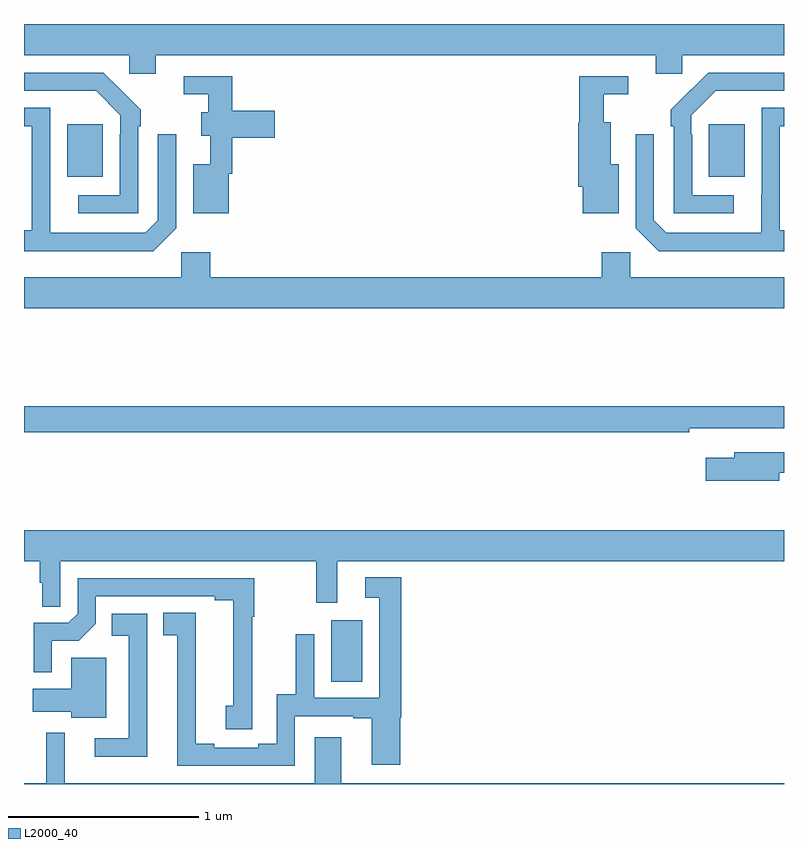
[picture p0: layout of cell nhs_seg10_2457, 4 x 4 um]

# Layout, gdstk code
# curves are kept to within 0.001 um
import gdstk
lib = gdstk.Library(unit=1e-6, precision=1e-09)
def R(c, l, rs):  # rectangles x0, y0, x1, y1
    for r in rs: c.add(gdstk.rectangle(r[:2], r[2:], *l))
def P(c, l, *ps):  # polygons
    for p in ps: c.add(gdstk.Polygon(p, *l))
L2000_40 = (2000, 40)

nhs_seg10_2457 = lib.new_cell('nhs_seg10_2457')
R(nhs_seg10_2457, L2000_40, [(244.616,1277.038,244.78,1277.362), (243.227,1279.697,243.415,1279.972), (246.605,1279.697,246.793,1279.972)])
P(nhs_seg10_2457, L2000_40, [(243.694,1280.336),(246.326,1280.336),(246.326,1280.238),(246.465,1280.238),(246.465,1280.336),(247,1280.336),(247,1280.5),(243,1280.5),(243,1280.336),(243.555,1280.336),(243.555,1280.238),(243.694,1280.238)],
  [(243.6,1279.961),(243.615,1279.961),(243.615,1280.049),(243.418,1280.244),(243,1280.244),(243,1280.148),(243.379,1280.148),(243.507,1280.019),(243.507,1279.919),(243.504,1279.919),(243.504,1279.599),(243.285,1279.599),(243.285,1279.503),(243.6,1279.503)],
  [(246.736,1279.599),(246.516,1279.599),(246.516,1279.919),(246.513,1279.919),(246.513,1280.019),(246.642,1280.148),(247,1280.148),(247,1280.244),(246.602,1280.244),(246.405,1280.049),(246.405,1279.961),(246.42,1279.961),(246.42,1279.503),(246.736,1279.503)],
  [(244.078,1279.713),(244.097,1279.713),(244.097,1279.901),(244.321,1279.901),(244.321,1280.043),(244.097,1280.043),(244.097,1280.226),(243.84,1280.226),(243.84,1280.13),(243.969,1280.13),(243.969,1280.035),(243.932,1280.035),(243.932,1279.913),(243.98,1279.913),(243.98,1279.762),(243.89,1279.762),(243.89,1279.505),(244.078,1279.505)],
  [(246.13,1279.762),(246.088,1279.762),(246.088,1279.984),(246.052,1279.984),(246.052,1280.129),(246.181,1280.129),(246.181,1280.226),(245.923,1280.226),(245.923,1279.98),(245.918,1279.98),(245.918,1279.644),(245.942,1279.644),(245.942,1279.505),(246.13,1279.505)],
  [(243.801,1279.425),(243.801,1279.921),(243.705,1279.921),(243.705,1279.467),(243.639,1279.401),(243.139,1279.401),(243.138,1280.058),(243,1280.058),(243,1279.962),(243.042,1279.962),(243.042,1279.414),(243,1279.414),(243,1279.304),(243.68,1279.304)],
  [(247,1279.414),(246.978,1279.414),(246.978,1279.962),(247,1279.962),(247,1280.058),(246.882,1280.058),(246.881,1279.401),(246.381,1279.401),(246.315,1279.467),(246.315,1279.921),(246.219,1279.921),(246.219,1279.425),(246.34,1279.304),(247,1279.304)],
  [(247,1279.168),(246.192,1279.168),(246.192,1279.3),(246.041,1279.3),(246.041,1279.168),(243.98,1279.168),(243.98,1279.3),(243.828,1279.3),(243.828,1279.168),(243,1279.168),(243,1279.004),(247,1279.004)],
  [(246.5,1278.372),(247,1278.372),(247,1278.488),(243,1278.488),(243,1278.352),(246.5,1278.352)],
  [(246.976,1278.138),(247,1278.138),(247,1278.246),(246.737,1278.246),(246.737,1278.217),(246.588,1278.217),(246.588,1278.095),(246.976,1278.095)],
  [(243.192,1277.672),(244.539,1277.672),(244.539,1277.454),(244.648,1277.454),(244.648,1277.672),(247,1277.672),(247,1277.836),(243,1277.836),(243,1277.672),(243.084,1277.672),(243.084,1277.559),(243.095,1277.559),(243.095,1277.434),(243.192,1277.434)],
  [(244.425,1276.857),(244.733,1276.857),(244.733,1276.845),(244.829,1276.845),(244.829,1276.602),(244.979,1276.602),(244.979,1276.85),(244.985,1276.85),(244.985,1277.587),(244.797,1277.587),(244.797,1277.481),(244.869,1277.481),(244.869,1276.953),(244.527,1276.953),(244.527,1277.287),(244.429,1277.287),(244.429,1276.973),(244.329,1276.973),(244.329,1276.712),(244.232,1276.712),(244.232,1276.692),(244,1276.692),(244,1276.712),(243.904,1276.712),(243.904,1276.993),(243.905,1276.993),(243.905,1277.402),(243.733,1277.402),(243.733,1277.284),(243.806,1277.284),(243.806,1276.596),(244.425,1276.596)],
  [(244.201,1277.38),(244.211,1277.38),(244.211,1277.583),(243.282,1277.583),(243.282,1277.397),(243.234,1277.349),(243.051,1277.349),(243.051,1277.087),(243.147,1277.087),(243.147,1277.253),(243.288,1277.253),(243.378,1277.343),(243.378,1277.487),(244.004,1277.487),(244.004,1277.467),(244.1,1277.467),(244.1,1276.912),(244.061,1276.912),(244.061,1276.788),(244.201,1276.788)],
  [(243.649,1277.194),(243.648,1277.194),(243.648,1277.397),(243.463,1277.397),(243.463,1277.281),(243.552,1277.281),(243.552,1276.74),(243.372,1276.74),(243.372,1276.643),(243.649,1276.643)],
  [(243.433,1277.164),(243.248,1277.164),(243.248,1277.002),(243.047,1277.002),(243.047,1276.88),(243.248,1276.88),(243.248,1276.85),(243.433,1276.85)],
  [(247,1276.504),(244.669,1276.504),(244.669,1276.747),(244.529,1276.747),(244.529,1276.504),(243.214,1276.504),(243.214,1276.771),(243.116,1276.771),(243.116,1276.504),(243,1276.504),(243,1276.5),(247,1276.5)])

lib.write_gds('nhs_seg10_2457.gds')
